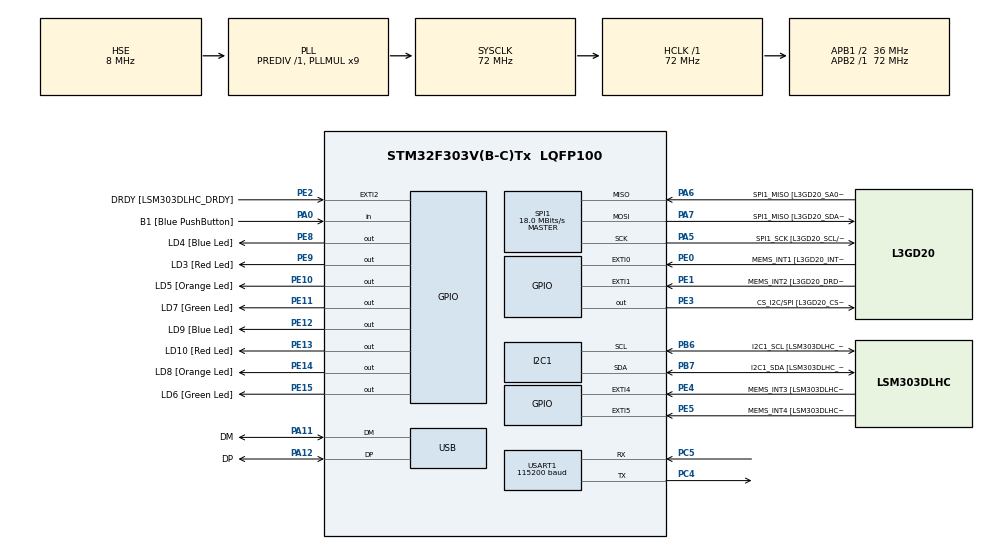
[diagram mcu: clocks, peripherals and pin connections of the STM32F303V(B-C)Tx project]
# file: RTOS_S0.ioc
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FREERTOS.Tasks01=defaultTask,0,128,StartDefaultTask,Default,NULL,Dynamic,NULL,NULL;myTask02,0,128,StartTask02,Default,NULL,Dynamic,NULL,NULL
FREERTOS.configUSE_NEWLIB_REENTRANT=1
I2C1.Timing-I2C=0x2000090E
Mcu.Family=STM32F3
Mcu.Name=STM32F303V(B-C)Tx
Mcu.Package=LQFP100
NVIC.PriorityGroup=NVIC_PRIORITYGROUP_4
NVIC.TIM1_UP_TIM16_IRQn=true\:15\:0\:false\:false\:true\:false\:false\:true\:true
NVIC.TimeBase=TIM1_UP_TIM16_IRQn
NVIC.TimeBaseIP=TIM1
PA0.GPIO_Label=B1 [Blue PushButton]
PA0.Signal=GPIO_Input
PA11.GPIO_Label=DM
PA11.Mode=Device
PA11.Signal=USB_DM
PA12.GPIO_Label=DP
PA12.Mode=Device
PA12.Signal=USB_DP
PA13.GPIO_Label=SWDIO
PA13.Mode=Serial_Wire
PA13.Signal=SYS_JTMS-SWDIO
PA14.GPIO_Label=SWCLK
PA14.Mode=Serial_Wire
PA14.Signal=SYS_JTCK-SWCLK
PA5.GPIO_Label=SPI1_SCK [L3GD20_SCL/SPC]
PA5.Mode=Full_Duplex_Master
PA5.Signal=SPI1_SCK
PA6.GPIO_Label=SPI1_MISO [L3GD20_SA0/SDO]
PA6.Mode=Full_Duplex_Master
PA6.Signal=SPI1_MISO
PA7.GPIO_Label=SPI1_MISO [L3GD20_SDA/SDI/SDO]
PA7.Mode=Full_Duplex_Master
PA7.Signal=SPI1_MOSI
PB3.GPIO_Label=SWO
PB3.Signal=SYS_JTDO-TRACESWO
PB6.GPIO_Label=I2C1_SCL [LSM303DLHC_SCL]
PB6.GPIO_Pu=GPIO_PULLUP
PB6.Mode=I2C
PB6.Signal=I2C1_SCL
PB7.GPIO_Label=I2C1_SDA [LSM303DLHC_SDA]
PB7.GPIO_Pu=GPIO_PULLUP
PB7.Mode=I2C
PB7.Signal=I2C1_SDA
PC14-OSC32_IN.GPIO_Label=OSC32_IN
PC14-OSC32_IN.Signal=RCC_OSC32_IN
PC15-OSC32_OUT.GPIO_Label=OSC32_OUT
PC15-OSC32_OUT.Signal=RCC_OSC32_OUT
PC4.Mode=Asynchronous
PC4.Signal=USART1_TX
PC5.Mode=Asynchronous
PC5.Signal=USART1_RX
PE0.GPIO_Label=MEMS_INT1 [L3GD20_INT1]
PE0.GPIO_ModeDefaultEXTI=GPIO_MODE_EVT_RISING
PE0.Signal=GPXTI0
PE1.GPIO_Label=MEMS_INT2 [L3GD20_DRDY/INT2]
PE1.GPIO_ModeDefaultEXTI=GPIO_MODE_EVT_RISING
PE1.Signal=GPXTI1
PE10.GPIO_Label=LD5 [Orange Led]
PE10.Signal=GPIO_Output
PE11.GPIO_Label=LD7 [Green Led]
PE11.Signal=GPIO_Output
PE12.GPIO_Label=LD9 [Blue Led]
PE12.Signal=GPIO_Output
PE13.GPIO_Label=LD10 [Red Led]
PE13.Signal=GPIO_Output
PE14.GPIO_Label=LD8 [Orange Led]
PE14.Signal=GPIO_Output
PE15.GPIO_Label=LD6 [Green Led]
PE15.Signal=GPIO_Output
PE2.GPIO_Label=DRDY [LSM303DLHC_DRDY]
PE2.GPIO_ModeDefaultEXTI=GPIO_MODE_EVT_RISING
PE2.Signal=GPXTI2
PE3.GPIO_Label=CS_I2C/SPI [L3GD20_CS_I2C/SPI]
PE3.Signal=GPIO_Output
PE4.GPIO_Label=MEMS_INT3 [LSM303DLHC_INT1]
PE4.GPIO_ModeDefaultEXTI=GPIO_MODE_EVT_RISING
PE4.Signal=GPXTI4
PE5.GPIO_Label=MEMS_INT4 [LSM303DLHC_INT2]
PE5.GPIO_ModeDefaultEXTI=GPIO_MODE_EVT_RISING
PE5.Signal=GPXTI5
PE8.GPIO_Label=LD4 [Blue Led]
PE8.Signal=GPIO_Output
PE9.GPIO_Label=LD3 [Red Led]
PE9.Signal=GPIO_Output
PF0-OSC_IN.GPIO_Label=OSC_IN
PF0-OSC_IN.Mode=HSE-External-Clock-Source
PF0-OSC_IN.Signal=RCC_OSC_IN
PF1-OSC_OUT.GPIO_Label=OSC_OUT
PF1-OSC_OUT.Signal=RCC_OSC_OUT
ProjectManager.HeapSize=0x200
ProjectManager.StackSize=0x400
ProjectManager.TargetToolchain=STM32CubeIDE
RCC.AHBFreq_Value=72000000
RCC.APB1CLKDivider=RCC_HCLK_DIV2
RCC.APB1Freq_Value=36000000
RCC.APB1TimFreq_Value=72000000
RCC.APB2Freq_Value=72000000
RCC.APB2TimFreq_Value=72000000
RCC.CortexFreq_Value=72000000
RCC.HCLKFreq_Value=72000000
RCC.HSE_VALUE=8000000
RCC.HSI_VALUE=8000000
RCC.LSE_VALUE=32768
RCC.PLLMUL=RCC_PLL_MUL9
RCC.PRESCALERUSB=RCC_USBCLKSOURCE_PLL_DIV1_5
RCC.SYSCLKFreq_VALUE=72000000
RCC.SYSCLKSourceVirtual=RCC_SYSCLKSOURCE_PLLCLK
RCC.USBFreq_Value=48000000
SPI1.BaudRatePrescaler=SPI_BAUDRATEPRESCALER_4
SPI1.BaudRatePrescaler-Full_Duplex_Master=SPI_BAUDRATEPRESCALER_2
SPI1.CalculateBaudRate=18.0 MBits/s
SPI1.CalculateBaudRate-Full_Duplex_Master=24.0 MBits/s
SPI1.Direction=SPI_DIRECTION_2LINES
SPI1.Mode=SPI_MODE_MASTER
SPI1.Mode-Full_Duplex_Master=SPI_MODE_MASTER
SPI1.VirtualType=VM_MASTER
USART1.BaudRate=115200
USART1.VirtualMode-Asynchronous=VM_ASYNC
VP_FREERTOS_VS_CMSIS_V1.Mode=CMSIS_V1
VP_SYS_VS_tim1.Mode=TIM1
board=STM32F3DISCOVERY

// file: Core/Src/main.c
/* USER CODE BEGIN Header */
/**
  ******************************************************************************
  * @file           : main.c
  * @brief          : Main program body
  ******************************************************************************
  * @attention
  *
  * Copyright (c) 2024 STMicroelectronics.
  * All rights reserved.
  *
  * This software is licensed under terms that can be found in the LICENSE file
  * in the root directory of this software component.
  * If no LICENSE file comes with this software, it is provided AS-IS.
  *
  ******************************************************************************
  */
/* USER CODE END Header */
#include "main.h"
#include "cmsis_os.h"

I2C_HandleTypeDef hi2c1;

SPI_HandleTypeDef hspi1;

UART_HandleTypeDef huart1;

PCD_HandleTypeDef hpcd_USB_FS;

osThreadId defaultTaskHandle;
osThreadId myTask02Handle;
/* USER CODE BEGIN PV */
osThreadId myTask03Handle;

/* USER CODE END PV */

void SystemClock_Config(void);
static void MX_GPIO_Init(void);
static void MX_I2C1_Init(void);
static void MX_SPI1_Init(void);
static void MX_USB_PCD_Init(void);
static void MX_USART1_UART_Init(void);
void StartDefaultTask(void const * argument);
void StartTask02(void const * argument);

/* USER CODE BEGIN PFP */
void StartTask03(void const * argument);

/* USER CODE END PFP */

int main(void)
{

  /* MCU Configuration--------------------------------------------------------*/

  /* Reset of all peripherals, Initializes the Flash interface and the Systick. */
  HAL_Init();

  /* Configure the system clock */
  SystemClock_Config();

  /* Initialize all configured peripherals */
  MX_GPIO_Init();
  MX_I2C1_Init();
  MX_SPI1_Init();
  MX_USB_PCD_Init();
  MX_USART1_UART_Init();

  /* Create the thread(s) */
  /* definition and creation of defaultTask */
  osThreadDef(defaultTask, StartDefaultTask, osPriorityNormal, 0, 128);
  defaultTaskHandle = osThreadCreate(osThread(defaultTask), NULL);

  /* definition and creation of myTask02 */
//  osThreadDef(myTask02, StartTask02, osPriorityNormal, 0, 128);
  osThreadDef(myTask02, StartTask02, osPriorityAboveNormal, 0, 128);
  myTask02Handle = osThreadCreate(osThread(myTask02), NULL);

  /* USER CODE BEGIN RTOS_THREADS */
  /* add threads, ... */
//  osThreadDef(myTask03, StartTask03, osPriorityNormal, 0, 128);
  osThreadDef(myTask03, StartTask03, osPriorityBelowNormal, 0, 128);
  myTask03Handle = osThreadCreate(osThread(myTask03), NULL);
  /* USER CODE END RTOS_THREADS */

  /* Start scheduler */
  osKernelStart();

  /* We should never get here as control is now taken by the scheduler */
  /* Infinite loop */
  while (1)
  {

    /* USER CODE BEGIN 3 */
//	  HAL_UART_Transmit(&huart1, "Hello\r", sizeof("Hello\r"), 100);
//	  HAL_GPIO_TogglePin(LD10_GPIO_Port, LD10_Pin);
//	  HAL_Delay(500);
  }
  /* USER CODE END 3 */
}

void SystemClock_Config(void)
{
  RCC_OscInitTypeDef RCC_OscInitStruct = {0};
  RCC_ClkInitTypeDef RCC_ClkInitStruct = {0};
  RCC_PeriphCLKInitTypeDef PeriphClkInit = {0};

  /** Initializes the RCC Oscillators according to the specified parameters
  * in the RCC_OscInitTypeDef structure.
  */
  RCC_OscInitStruct.OscillatorType = RCC_OSCILLATORTYPE_HSI|RCC_OSCILLATORTYPE_HSE;
  RCC_OscInitStruct.HSEState = RCC_HSE_BYPASS;
  RCC_OscInitStruct.HSEPredivValue = RCC_HSE_PREDIV_DIV1;
  RCC_OscInitStruct.HSIState = RCC_HSI_ON;
  RCC_OscInitStruct.HSICalibrationValue = RCC_HSICALIBRATION_DEFAULT;
  RCC_OscInitStruct.PLL.PLLState = RCC_PLL_ON;
  RCC_OscInitStruct.PLL.PLLSource = RCC_PLLSOURCE_HSE;
  RCC_OscInitStruct.PLL.PLLMUL = RCC_PLL_MUL9;
  if (HAL_RCC_OscConfig(&RCC_OscInitStruct) != HAL_OK)
  {
    Error_Handler();
  }

  /** Initializes the CPU, AHB and APB buses clocks
  */
  RCC_ClkInitStruct.ClockType = RCC_CLOCKTYPE_HCLK|RCC_CLOCKTYPE_SYSCLK
                              |RCC_CLOCKTYPE_PCLK1|RCC_CLOCKTYPE_PCLK2;
  RCC_ClkInitStruct.SYSCLKSource = RCC_SYSCLKSOURCE_PLLCLK;
  RCC_ClkInitStruct.AHBCLKDivider = RCC_SYSCLK_DIV1;
  RCC_ClkInitStruct.APB1CLKDivider = RCC_HCLK_DIV2;
  RCC_ClkInitStruct.APB2CLKDivider = RCC_HCLK_DIV1;

  if (HAL_RCC_ClockConfig(&RCC_ClkInitStruct, FLASH_LATENCY_2) != HAL_OK)
  {
    Error_Handler();
  }
  PeriphClkInit.PeriphClockSelection = RCC_PERIPHCLK_USB|RCC_PERIPHCLK_USART1
                              |RCC_PERIPHCLK_I2C1;
  PeriphClkInit.Usart1ClockSelection = RCC_USART1CLKSOURCE_PCLK2;
  PeriphClkInit.I2c1ClockSelection = RCC_I2C1CLKSOURCE_HSI;
  PeriphClkInit.USBClockSelection = RCC_USBCLKSOURCE_PLL_DIV1_5;
  if (HAL_RCCEx_PeriphCLKConfig(&PeriphClkInit) != HAL_OK)
  {
    Error_Handler();
  }
}

static void MX_I2C1_Init(void)
{

  hi2c1.Instance = I2C1;
  hi2c1.Init.Timing = 0x2000090E;
  hi2c1.Init.OwnAddress1 = 0;
  hi2c1.Init.AddressingMode = I2C_ADDRESSINGMODE_7BIT;
  hi2c1.Init.DualAddressMode = I2C_DUALADDRESS_DISABLE;
  hi2c1.Init.OwnAddress2 = 0;
  hi2c1.Init.OwnAddress2Masks = I2C_OA2_NOMASK;
  hi2c1.Init.GeneralCallMode = I2C_GENERALCALL_DISABLE;
  hi2c1.Init.NoStretchMode = I2C_NOSTRETCH_DISABLE;
  if (HAL_I2C_Init(&hi2c1) != HAL_OK)
  {
    Error_Handler();
  }

  /** Configure Analogue filter
  */
  if (HAL_I2CEx_ConfigAnalogFilter(&hi2c1, I2C_ANALOGFILTER_ENABLE) != HAL_OK)
  {
    Error_Handler();
  }

  /** Configure Digital filter
  */
  if (HAL_I2CEx_ConfigDigitalFilter(&hi2c1, 0) != HAL_OK)
  {
    Error_Handler();
  }

}

static void MX_SPI1_Init(void)
{

  /* SPI1 parameter configuration*/
  hspi1.Instance = SPI1;
  hspi1.Init.Mode = SPI_MODE_MASTER;
  hspi1.Init.Direction = SPI_DIRECTION_2LINES;
  hspi1.Init.DataSize = SPI_DATASIZE_4BIT;
  hspi1.Init.CLKPolarity = SPI_POLARITY_LOW;
  hspi1.Init.CLKPhase = SPI_PHASE_1EDGE;
  hspi1.Init.NSS = SPI_NSS_SOFT;
  hspi1.Init.BaudRatePrescaler = SPI_BAUDRATEPRESCALER_4;
  hspi1.Init.FirstBit = SPI_FIRSTBIT_MSB;
  hspi1.Init.TIMode = SPI_TIMODE_DISABLE;
  hspi1.Init.CRCCalculation = SPI_CRCCALCULATION_DISABLE;
  hspi1.Init.CRCPolynomial = 7;
  hspi1.Init.CRCLength = SPI_CRC_LENGTH_DATASIZE;
  hspi1.Init.NSSPMode = SPI_NSS_PULSE_ENABLE;
  if (HAL_SPI_Init(&hspi1) != HAL_OK)
  {
    Error_Handler();
  }

}

static void MX_USART1_UART_Init(void)
{

  huart1.Instance = USART1;
  huart1.Init.BaudRate = 115200;
  huart1.Init.WordLength = UART_WORDLENGTH_8B;
  huart1.Init.StopBits = UART_STOPBITS_1;
  huart1.Init.Parity = UART_PARITY_NONE;
  huart1.Init.Mode = UART_MODE_TX_RX;
  huart1.Init.HwFlowCtl = UART_HWCONTROL_NONE;
  huart1.Init.OverSampling = UART_OVERSAMPLING_16;
  huart1.Init.OneBitSampling = UART_ONE_BIT_SAMPLE_DISABLE;
  huart1.AdvancedInit.AdvFeatureInit = UART_ADVFEATURE_NO_INIT;
  if (HAL_UART_Init(&huart1) != HAL_OK)
  {
    Error_Handler();
  }

}

static void MX_USB_PCD_Init(void)
{

  hpcd_USB_FS.Instance = USB;
  hpcd_USB_FS.Init.dev_endpoints = 8;
  hpcd_USB_FS.Init.speed = PCD_SPEED_FULL;
  hpcd_USB_FS.Init.phy_itface = PCD_PHY_EMBEDDED;
  hpcd_USB_FS.Init.low_power_enable = DISABLE;
  hpcd_USB_FS.Init.battery_charging_enable = DISABLE;
  if (HAL_PCD_Init(&hpcd_USB_FS) != HAL_OK)
  {
    Error_Handler();
  }

}

static void MX_GPIO_Init(void)
{
  GPIO_InitTypeDef GPIO_InitStruct = {0};

  /* GPIO Ports Clock Enable */
  __HAL_RCC_GPIOE_CLK_ENABLE();
  __HAL_RCC_GPIOC_CLK_ENABLE();
  __HAL_RCC_GPIOF_CLK_ENABLE();
  __HAL_RCC_GPIOA_CLK_ENABLE();
  __HAL_RCC_GPIOB_CLK_ENABLE();

  /*Configure GPIO pin Output Level */
  HAL_GPIO_WritePin(GPIOE, CS_I2C_SPI_Pin|LD4_Pin|LD3_Pin|LD5_Pin
                          |LD7_Pin|LD9_Pin|LD10_Pin|LD8_Pin
                          |LD6_Pin, GPIO_PIN_RESET);

  /*Configure GPIO pins : DRDY_Pin MEMS_INT3_Pin MEMS_INT4_Pin MEMS_INT1_Pin
                           MEMS_INT2_Pin */
  GPIO_InitStruct.Pin = DRDY_Pin|MEMS_INT3_Pin|MEMS_INT4_Pin|MEMS_INT1_Pin
                          |MEMS_INT2_Pin;
  GPIO_InitStruct.Mode = GPIO_MODE_EVT_RISING;
  GPIO_InitStruct.Pull = GPIO_NOPULL;
  HAL_GPIO_Init(GPIOE, &GPIO_InitStruct);

  /*Configure GPIO pins : CS_I2C_SPI_Pin LD4_Pin LD3_Pin LD5_Pin
                           LD7_Pin LD9_Pin LD10_Pin LD8_Pin
                           LD6_Pin */
  GPIO_InitStruct.Pin = CS_I2C_SPI_Pin|LD4_Pin|LD3_Pin|LD5_Pin
                          |LD7_Pin|LD9_Pin|LD10_Pin|LD8_Pin
                          |LD6_Pin;
  GPIO_InitStruct.Mode = GPIO_MODE_OUTPUT_PP;
  GPIO_InitStruct.Pull = GPIO_NOPULL;
  GPIO_InitStruct.Speed = GPIO_SPEED_FREQ_LOW;
  HAL_GPIO_Init(GPIOE, &GPIO_InitStruct);

  /*Configure GPIO pin : B1_Pin */
  GPIO_InitStruct.Pin = B1_Pin;
  GPIO_InitStruct.Mode = GPIO_MODE_INPUT;
  GPIO_InitStruct.Pull = GPIO_NOPULL;
  HAL_GPIO_Init(B1_GPIO_Port, &GPIO_InitStruct);

}

/* USER CODE BEGIN 4 */
void taskdefault_send() {
	uint8_t data[] = "This is a message from Task Default\r\n";
	HAL_UART_Transmit(&huart1, data, sizeof(data) - 1, 500);
}

void task02_send() {
	uint8_t data[] = "This is a message from Task 2\r\n";
	HAL_UART_Transmit(&huart1, data, sizeof(data) - 1, 500);
}

void task03_send() {
	uint8_t data[] = "This is a message from Task 3\r\n";
	HAL_UART_Transmit(&huart1, data, sizeof(data) - 1, 500);
}

/*
void StartTask03(void const * argument)
{
  for(;;)
  {
	  task03_send();
	  osDelay(3000);
  }
}
*/

/* USER CODE END 4 */

void StartDefaultTask(void const * argument)
{
  /* USER CODE BEGIN 5 */
  /* Infinite loop */
  for(;;)
  {
	  taskdefault_send();
	  osDelay(1000);
  }
  /* USER CODE END 5 */
}

void StartTask02(void const * argument)
{
  /* USER CODE BEGIN StartTask02 */
  /* Infinite loop */
  for(;;)
  {
	  task02_send();
//	  osDelay(2000);
	  osDelay(1000);
  }
  /* USER CODE END StartTask02 */
}

void StartTask03(void const * argument)
{
  for(;;)
  {
	  task03_send();
//	  osDelay(3000);
	  osDelay(1000);
  }
}
void HAL_TIM_PeriodElapsedCallback(TIM_HandleTypeDef *htim)
{
  if (htim->Instance == TIM1) {
    HAL_IncTick();
  }
}

void Error_Handler(void)
{
  __disable_irq();
  while (1)
  {
  }
}
